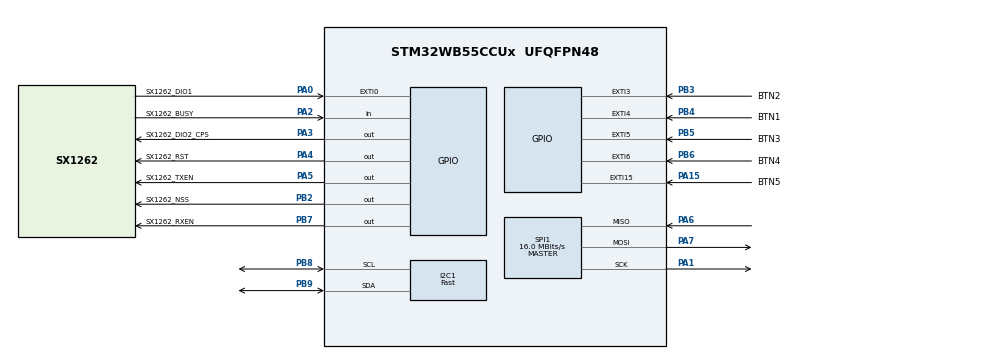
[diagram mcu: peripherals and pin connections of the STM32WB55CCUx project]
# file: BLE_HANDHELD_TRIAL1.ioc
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I2C1.I2C_Speed_Mode=I2C_Fast
I2C1.Timing=0x0060112F
Mcu.Family=STM32WB
Mcu.Name=STM32WB55CCUx
Mcu.Package=UFQFPN48
NVIC.EXTI0_IRQn=true\:0\:0\:false\:false\:true\:true\:true\:true
NVIC.EXTI15_10_IRQn=true\:0\:0\:false\:false\:true\:true\:true\:true
NVIC.EXTI3_IRQn=true\:0\:0\:false\:false\:true\:true\:true\:true
NVIC.EXTI4_IRQn=true\:0\:0\:false\:false\:true\:true\:true\:true
NVIC.EXTI9_5_IRQn=true\:0\:0\:false\:false\:true\:true\:true\:true
NVIC.HSEM_IRQn=true\:0\:0\:false\:false\:true\:false\:true\:true
NVIC.IPCC_C1_RX_IRQn=true\:0\:0\:false\:false\:true\:true\:true\:true
NVIC.IPCC_C1_TX_IRQn=true\:0\:0\:false\:false\:true\:true\:true\:true
NVIC.PriorityGroup=NVIC_PRIORITYGROUP_4
NVIC.RCC_IRQn=true\:0\:0\:false\:false\:true\:true\:false\:true
NVIC.RTC_WKUP_IRQn=true\:0\:0\:false\:false\:true\:true\:true\:true
OSC_IN.Mode=HSE-External-Oscillator
OSC_IN.Signal=RCC_OSC_IN
OSC_OUT.Mode=HSE-External-Oscillator
OSC_OUT.Signal=RCC_OSC_OUT
PA0.GPIO_Label=SX1262_DIO1
PA0.Signal=GPXTI0
PA1.Mode=Full_Duplex_Master
PA1.Signal=SPI1_SCK
PA10.Signal=USART1_RX
PA11.Signal=USART1_CTS
PA12.Signal=USART1_RTS
PA15.GPIO_Label=BTN5
PA15.GPIO_ModeDefaultEXTI=GPIO_MODE_IT_FALLING
PA15.Signal=GPXTI15
PA2.GPIO_Label=SX1262_BUSY
PA2.Signal=GPIO_Input
PA3.GPIO_Label=SX1262_DIO2_CPS
PA3.Signal=GPIO_Output
PA4.GPIO_Label=SX1262_RST
PA4.Signal=GPIO_Output
PA5.GPIO_Label=SX1262_TXEN
PA5.Signal=GPIO_Output
PA6.Mode=Full_Duplex_Master
PA6.Signal=SPI1_MISO
PA7.Mode=Full_Duplex_Master
PA7.Signal=SPI1_MOSI
PB2.GPIO_Label=SX1262_NSS
PB2.Signal=GPIO_Output
PB3.GPIO_Label=BTN2
PB3.GPIO_ModeDefaultEXTI=GPIO_MODE_IT_FALLING
PB3.Signal=GPXTI3
PB4.GPIO_Label=BTN1
PB4.GPIO_ModeDefaultEXTI=GPIO_MODE_IT_FALLING
PB4.Signal=GPXTI4
PB5.GPIO_Label=BTN3
PB5.GPIO_ModeDefaultEXTI=GPIO_MODE_IT_FALLING
PB5.Signal=GPXTI5
PB6.GPIO_Label=BTN4
PB6.GPIO_ModeDefaultEXTI=GPIO_MODE_IT_FALLING
PB6.Signal=GPXTI6
PB7.GPIO_Label=SX1262_RXEN
PB7.Signal=GPIO_Output
PB8.Mode=I2C
PB8.Signal=I2C1_SCL
PB9.Mode=I2C
PB9.Signal=I2C1_SDA
PC14-OSC32_IN.Mode=LSE-External-Oscillator
PC14-OSC32_IN.Signal=RCC_OSC32_IN
PC15-OSC32_OUT.Mode=LSE-External-Oscillator
PC15-OSC32_OUT.Signal=RCC_OSC32_OUT
ProjectManager.HeapSize=0x200
ProjectManager.StackSize=0x400
ProjectManager.TargetToolchain=STM32CubeIDE
RCC.ADCFreq_Value=128000000
RCC.AHBFreq_Value=32000000
RCC.APB1Freq_Value=32000000
RCC.APB1TimFreq_Value=32000000
RCC.APB2Freq_Value=32000000
RCC.APB2TimFreq_Value=32000000
RCC.APB3Freq_Value=16000000
RCC.CortexFreq_Value=32000000
RCC.HCLKFreq_Value=32000000
RCC.HSE_VALUE=32000000
RCC.HSI48_VALUE=48000000
RCC.HSI_VALUE=16000000
RCC.MSIClockRange=RCC_MSIRANGE_10
RCC.SYSCLKFreq_VALUE=32000000
RCC.USBFreq_Value=128000000
RCC.VCOOutputFreq_Value=256000000
RF1.Mode=RF1_Activate
RF1.Signal=RF_RF1
SPI1.CalculateBaudRate=16.0 MBits/s
SPI1.DataSize=SPI_DATASIZE_8BIT
SPI1.Direction=SPI_DIRECTION_2LINES
SPI1.Mode=SPI_MODE_MASTER
SPI1.VirtualType=VM_MASTER
STM32_WPAN.BLE_APPLICATION_TYPE=BLE_CLIENT_PROFILE
STM32_WPAN.CFG_LSCLK_LSE=0
VP_HSEM_VS_HSEM.Mode=HSEM_Activate
VP_IPCC_VS_IPCC.Mode=IPCC_Activate
VP_MEMORYMAP_VS_MEMORYMAP.Mode=CurAppReg
VP_RTC_VS_RTC_Activate.Mode=RTC_Enabled
VP_RTC_VS_RTC_WakeUp_intern.Mode=WakeUp
VP_SEQUENCER_VS_SEQUENCER.Mode=SEQUENCER_Enabled
VP_STM32_WPAN_VS_BLE_HOST.Mode=STM32_WPAN_Enabled
VP_TIM1_VS_ClockSourceITR.Mode=TriggerSource_ITR0
VP_TIM1_VS_ControllerModeClock.Mode=Clock Mode
VP_TINY_LPM_VS_TINY_LPM.Mode=TINY_LPM_Enabled
board=custom

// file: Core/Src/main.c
/* USER CODE BEGIN Header */
/**
  ******************************************************************************
  * @file           : main.c
  * @brief          : Main program body
  ******************************************************************************
  * @attention
  *
  * Copyright (c) 2026 STMicroelectronics.
  * All rights reserved.
  *
  * This software is licensed under terms that can be found in the LICENSE file
  * in the root directory of this software component.
  * If no LICENSE file comes with this software, it is provided AS-IS.
  *
  ******************************************************************************
  */
/* USER CODE END Header */
#include "main.h"

/* USER CODE BEGIN Includes */
#include "ssd1306.h"
#include "fonts.h"
#include "app_ble.h"
#include "ble_gap_aci.h"
#include "stm32_seq.h"
#include "board_sx126x_calls.h"
#include <stdio.h>
/* USER CODE END Includes */

I2C_HandleTypeDef hi2c1;

IPCC_HandleTypeDef hipcc;

RTC_HandleTypeDef hrtc;

SPI_HandleTypeDef hspi1;

TIM_HandleTypeDef htim1;

void SystemClock_Config(void);
void PeriphCommonClock_Config(void);
static void MX_GPIO_Init(void);
static void MX_I2C1_Init(void);
static void MX_IPCC_Init(void);
static void MX_RTC_Init(void);
static void MX_SPI1_Init(void);
static void MX_TIM1_Init(void);
static void MX_RF_Init(void);
/* USER CODE BEGIN PFP */
void Button1_Poll(void);
void Write_TO_OLED();
void BLE_RECIEVE();
/* USER CODE END PFP */

/* USER CODE BEGIN 0 */
volatile uint8_t display_toggle = 1;
char oled_buffer[24];
int BLE_R = 0;
int BLE_M = 0;
int BLE_Dis = -1;
uint32_t now;
uint32_t last_update = 0;
const uint32_t update_interval = 1000;
/* USER CODE END 0 */

int main(void)
{

  /* MCU Configuration--------------------------------------------------------*/

  /* Reset of all peripherals, Initializes the Flash interface and the Systick. */
  HAL_Init();
  /* Config code for STM32_WPAN (HSE Tuning must be done before system clock configuration) */
  MX_APPE_Config();

  /* Configure the system clock */
  SystemClock_Config();

  /* Configure the peripherals common clocks */
  PeriphCommonClock_Config();

  /* IPCC initialisation */
  MX_IPCC_Init();

  /* Initialize all configured peripherals */
  MX_GPIO_Init();
  MX_I2C1_Init();
  MX_RTC_Init();
  MX_SPI1_Init();
  MX_TIM1_Init();
  MX_RF_Init();

  /* Init code for STM32_WPAN */
  MX_APPE_Init();

  /* Infinite loop */
  /* USER CODE BEGIN WHILE */
  	  SSD1306_Init();
  	if(setup_22dBm_Tx(NULL) != SX126X_STATUS_OK){									// here we call the 22dBm setup and check it returns STATUS OK
  		SSD1306_Clear();
  		snprintf(oled_buffer, sizeof(oled_buffer), "Error: setup_22dBm_Tx()");		// print an error to the user if STATUS NOT OK
  		SSD1306_GotoXY(0,0);
  		SSD1306_Puts(oled_buffer, &Font_7x10, 1);
  		SSD1306_UpdateScreen();
  		while(1){}																	// hold here indefinitely
  	}

  	if(rfswitch_Rx(NULL) != SX126X_STATUS_OK){										// here we call rfswitch_TX and check it returns STATUS OK
  		SSD1306_Clear();
  		snprintf(oled_buffer, sizeof(oled_buffer), "Error: rfswitch_Tx()");			// print an error to the user if STATUS NOT OK
  		SSD1306_GotoXY(0,0);
  		SSD1306_Puts(oled_buffer, &Font_7x10, 1);
  		SSD1306_UpdateScreen();
  		while(1){}																	// hold here indefinitely
  	}

  	HAL_Delay(100);
  	SSD1306_Clear();
  	SSD1306_GotoXY(0, 0);
  	SSD1306_Puts("Please Input", &Font_7x10, 1);
	SSD1306_GotoXY(0, 10);
  	SSD1306_Puts("BTN1 - BLE En", &Font_7x10, 1);
	SSD1306_GotoXY(0, 20);
  	SSD1306_Puts("BTN2 - BLE Dis", &Font_7x10, 1);
	SSD1306_GotoXY(0, 30);
  	SSD1306_Puts("BTN3 - TxPw En", &Font_7x10, 1);
  	SSD1306_GotoXY(0, 40);
    SSD1306_Puts("BTN4 - TxPw Dis", &Font_7x10, 1);
  	SSD1306_UpdateScreen();

  while (1)
  {
    /* USER CODE END WHILE */
    MX_APPE_Process();

    /* USER CODE BEGIN 3 */
    BLE_RECIEVE();
  }
  /* USER CODE END 3 */
}

void SystemClock_Config(void)
{
  RCC_OscInitTypeDef RCC_OscInitStruct = {0};
  RCC_ClkInitTypeDef RCC_ClkInitStruct = {0};

  /** Configure the main internal regulator output voltage
  */
  __HAL_PWR_VOLTAGESCALING_CONFIG(PWR_REGULATOR_VOLTAGE_SCALE1);

  /** Initializes the RCC Oscillators according to the specified parameters
  * in the RCC_OscInitTypeDef structure.
  */
  RCC_OscInitStruct.OscillatorType = RCC_OSCILLATORTYPE_HSI|RCC_OSCILLATORTYPE_LSI1
                              |RCC_OSCILLATORTYPE_HSE|RCC_OSCILLATORTYPE_MSI;
  RCC_OscInitStruct.HSEState = RCC_HSE_ON;
  RCC_OscInitStruct.HSIState = RCC_HSI_ON;
  RCC_OscInitStruct.MSIState = RCC_MSI_ON;
  RCC_OscInitStruct.HSICalibrationValue = RCC_HSICALIBRATION_DEFAULT;
  RCC_OscInitStruct.MSICalibrationValue = RCC_MSICALIBRATION_DEFAULT;
  RCC_OscInitStruct.MSIClockRange = RCC_MSIRANGE_10;
  RCC_OscInitStruct.LSIState = RCC_LSI_ON;
  RCC_OscInitStruct.PLL.PLLState = RCC_PLL_NONE;
  if (HAL_RCC_OscConfig(&RCC_OscInitStruct) != HAL_OK)
  {
    Error_Handler();
  }

  /** Configure the SYSCLKSource, HCLK, PCLK1 and PCLK2 clocks dividers
  */
  RCC_ClkInitStruct.ClockType = RCC_CLOCKTYPE_HCLK4|RCC_CLOCKTYPE_HCLK2
                              |RCC_CLOCKTYPE_HCLK|RCC_CLOCKTYPE_SYSCLK
                              |RCC_CLOCKTYPE_PCLK1|RCC_CLOCKTYPE_PCLK2;
  RCC_ClkInitStruct.SYSCLKSource = RCC_SYSCLKSOURCE_MSI;
  RCC_ClkInitStruct.AHBCLKDivider = RCC_SYSCLK_DIV1;
  RCC_ClkInitStruct.APB1CLKDivider = RCC_HCLK_DIV1;
  RCC_ClkInitStruct.APB2CLKDivider = RCC_HCLK_DIV1;
  RCC_ClkInitStruct.AHBCLK2Divider = RCC_SYSCLK_DIV1;
  RCC_ClkInitStruct.AHBCLK4Divider = RCC_SYSCLK_DIV1;

  if (HAL_RCC_ClockConfig(&RCC_ClkInitStruct, FLASH_LATENCY_1) != HAL_OK)
  {
    Error_Handler();
  }
}

void PeriphCommonClock_Config(void)
{
  RCC_PeriphCLKInitTypeDef PeriphClkInitStruct = {0};

  /** Initializes the peripherals clock
  */
  PeriphClkInitStruct.PeriphClockSelection = RCC_PERIPHCLK_SMPS|RCC_PERIPHCLK_RFWAKEUP;
  PeriphClkInitStruct.RFWakeUpClockSelection = RCC_RFWKPCLKSOURCE_HSE_DIV1024;
  PeriphClkInitStruct.SmpsClockSelection = RCC_SMPSCLKSOURCE_HSI;
  PeriphClkInitStruct.SmpsDivSelection = RCC_SMPSCLKDIV_RANGE1;

  if (HAL_RCCEx_PeriphCLKConfig(&PeriphClkInitStruct) != HAL_OK)
  {
    Error_Handler();
  }
}

static void MX_I2C1_Init(void)
{

  hi2c1.Instance = I2C1;
  hi2c1.Init.Timing = 0x0060112F;
  hi2c1.Init.OwnAddress1 = 0;
  hi2c1.Init.AddressingMode = I2C_ADDRESSINGMODE_7BIT;
  hi2c1.Init.DualAddressMode = I2C_DUALADDRESS_DISABLE;
  hi2c1.Init.OwnAddress2 = 0;
  hi2c1.Init.OwnAddress2Masks = I2C_OA2_NOMASK;
  hi2c1.Init.GeneralCallMode = I2C_GENERALCALL_DISABLE;
  hi2c1.Init.NoStretchMode = I2C_NOSTRETCH_DISABLE;
  if (HAL_I2C_Init(&hi2c1) != HAL_OK)
  {
    Error_Handler();
  }

  /** Configure Analogue filter
  */
  if (HAL_I2CEx_ConfigAnalogFilter(&hi2c1, I2C_ANALOGFILTER_ENABLE) != HAL_OK)
  {
    Error_Handler();
  }

  /** Configure Digital filter
  */
  if (HAL_I2CEx_ConfigDigitalFilter(&hi2c1, 0) != HAL_OK)
  {
    Error_Handler();
  }

}

static void MX_IPCC_Init(void)
{

  hipcc.Instance = IPCC;
  if (HAL_IPCC_Init(&hipcc) != HAL_OK)
  {
    Error_Handler();
  }

}

static void MX_RF_Init(void)
{

}

static void MX_RTC_Init(void)
{

  /** Initialize RTC Only
  */
  hrtc.Instance = RTC;
  hrtc.Init.HourFormat = RTC_HOURFORMAT_24;
  hrtc.Init.AsynchPrediv = CFG_RTC_ASYNCH_PRESCALER;
  hrtc.Init.SynchPrediv = CFG_RTC_SYNCH_PRESCALER;
  hrtc.Init.OutPut = RTC_OUTPUT_DISABLE;
  hrtc.Init.OutPutPolarity = RTC_OUTPUT_POLARITY_HIGH;
  hrtc.Init.OutPutType = RTC_OUTPUT_TYPE_OPENDRAIN;
  hrtc.Init.OutPutRemap = RTC_OUTPUT_REMAP_NONE;
  if (HAL_RTC_Init(&hrtc) != HAL_OK)
  {
    Error_Handler();
  }

  /** Enable the WakeUp
  */
  if (HAL_RTCEx_SetWakeUpTimer_IT(&hrtc, 0, RTC_WAKEUPCLOCK_RTCCLK_DIV16) != HAL_OK)
  {
    Error_Handler();
  }

}

static void MX_SPI1_Init(void)
{

  /* SPI1 parameter configuration*/
  hspi1.Instance = SPI1;
  hspi1.Init.Mode = SPI_MODE_MASTER;
  hspi1.Init.Direction = SPI_DIRECTION_2LINES;
  hspi1.Init.DataSize = SPI_DATASIZE_8BIT;
  hspi1.Init.CLKPolarity = SPI_POLARITY_LOW;
  hspi1.Init.CLKPhase = SPI_PHASE_1EDGE;
  hspi1.Init.NSS = SPI_NSS_SOFT;
  hspi1.Init.BaudRatePrescaler = SPI_BAUDRATEPRESCALER_2;
  hspi1.Init.FirstBit = SPI_FIRSTBIT_MSB;
  hspi1.Init.TIMode = SPI_TIMODE_DISABLE;
  hspi1.Init.CRCCalculation = SPI_CRCCALCULATION_DISABLE;
  hspi1.Init.CRCPolynomial = 7;
  hspi1.Init.CRCLength = SPI_CRC_LENGTH_DATASIZE;
  hspi1.Init.NSSPMode = SPI_NSS_PULSE_ENABLE;
  if (HAL_SPI_Init(&hspi1) != HAL_OK)
  {
    Error_Handler();
  }

}

static void MX_TIM1_Init(void)
{

  TIM_SlaveConfigTypeDef sSlaveConfig = {0};
  TIM_MasterConfigTypeDef sMasterConfig = {0};

  htim1.Instance = TIM1;
  htim1.Init.Prescaler = 0;
  htim1.Init.CounterMode = TIM_COUNTERMODE_UP;
  htim1.Init.Period = 65535;
  htim1.Init.ClockDivision = TIM_CLOCKDIVISION_DIV1;
  htim1.Init.RepetitionCounter = 0;
  htim1.Init.AutoReloadPreload = TIM_AUTORELOAD_PRELOAD_DISABLE;
  if (HAL_TIM_Base_Init(&htim1) != HAL_OK)
  {
    Error_Handler();
  }
  sSlaveConfig.SlaveMode = TIM_SLAVEMODE_EXTERNAL1;
  sSlaveConfig.InputTrigger = TIM_TS_ITR0;
  if (HAL_TIM_SlaveConfigSynchro(&htim1, &sSlaveConfig) != HAL_OK)
  {
    Error_Handler();
  }
  sMasterConfig.MasterOutputTrigger = TIM_TRGO_RESET;
  sMasterConfig.MasterOutputTrigger2 = TIM_TRGO2_RESET;
  sMasterConfig.MasterSlaveMode = TIM_MASTERSLAVEMODE_DISABLE;
  if (HAL_TIMEx_MasterConfigSynchronization(&htim1, &sMasterConfig) != HAL_OK)
  {
    Error_Handler();
  }

}

static void MX_GPIO_Init(void)
{
  GPIO_InitTypeDef GPIO_InitStruct = {0};

  /* GPIO Ports Clock Enable */
  __HAL_RCC_GPIOC_CLK_ENABLE();
  __HAL_RCC_GPIOB_CLK_ENABLE();
  __HAL_RCC_GPIOA_CLK_ENABLE();

  /*Configure GPIO pin Output Level */
  HAL_GPIO_WritePin(GPIOA, SX1262_DIO2_CPS_Pin|SX1262_RST_Pin|SX1262_TXEN_Pin, GPIO_PIN_RESET);

  /*Configure GPIO pin Output Level */
  HAL_GPIO_WritePin(GPIOB, SX1262_NSS_Pin|SX1262_RXEN_Pin, GPIO_PIN_RESET);

  /*Configure GPIO pin : SX1262_DIO1_Pin */
  GPIO_InitStruct.Pin = SX1262_DIO1_Pin;
  GPIO_InitStruct.Mode = GPIO_MODE_IT_RISING;
  GPIO_InitStruct.Pull = GPIO_NOPULL;
  HAL_GPIO_Init(SX1262_DIO1_GPIO_Port, &GPIO_InitStruct);

  /*Configure GPIO pin : SX1262_BUSY_Pin */
  GPIO_InitStruct.Pin = SX1262_BUSY_Pin;
  GPIO_InitStruct.Mode = GPIO_MODE_INPUT;
  GPIO_InitStruct.Pull = GPIO_NOPULL;
  HAL_GPIO_Init(SX1262_BUSY_GPIO_Port, &GPIO_InitStruct);

  /*Configure GPIO pins : SX1262_DIO2_CPS_Pin SX1262_RST_Pin SX1262_TXEN_Pin */
  GPIO_InitStruct.Pin = SX1262_DIO2_CPS_Pin|SX1262_RST_Pin|SX1262_TXEN_Pin;
  GPIO_InitStruct.Mode = GPIO_MODE_OUTPUT_PP;
  GPIO_InitStruct.Pull = GPIO_NOPULL;
  GPIO_InitStruct.Speed = GPIO_SPEED_FREQ_LOW;
  HAL_GPIO_Init(GPIOA, &GPIO_InitStruct);

  /*Configure GPIO pins : SX1262_NSS_Pin SX1262_RXEN_Pin */
  GPIO_InitStruct.Pin = SX1262_NSS_Pin|SX1262_RXEN_Pin;
  GPIO_InitStruct.Mode = GPIO_MODE_OUTPUT_PP;
  GPIO_InitStruct.Pull = GPIO_NOPULL;
  GPIO_InitStruct.Speed = GPIO_SPEED_FREQ_LOW;
  HAL_GPIO_Init(GPIOB, &GPIO_InitStruct);

  /*Configure GPIO pins : PA10 PA11 PA12 */
  GPIO_InitStruct.Pin = GPIO_PIN_10|GPIO_PIN_11|GPIO_PIN_12;
  GPIO_InitStruct.Mode = GPIO_MODE_AF_PP;
  GPIO_InitStruct.Pull = GPIO_NOPULL;
  GPIO_InitStruct.Speed = GPIO_SPEED_FREQ_LOW;
  GPIO_InitStruct.Alternate = GPIO_AF7_USART1;
  HAL_GPIO_Init(GPIOA, &GPIO_InitStruct);

  /*Configure GPIO pin : BTN5_Pin */
  GPIO_InitStruct.Pin = BTN5_Pin;
  GPIO_InitStruct.Mode = GPIO_MODE_IT_FALLING;
  GPIO_InitStruct.Pull = GPIO_NOPULL;
  HAL_GPIO_Init(BTN5_GPIO_Port, &GPIO_InitStruct);

  /*Configure GPIO pins : BTN2_Pin BTN1_Pin BTN3_Pin BTN4_Pin */
  GPIO_InitStruct.Pin = BTN2_Pin|BTN1_Pin|BTN3_Pin|BTN4_Pin;
  GPIO_InitStruct.Mode = GPIO_MODE_IT_FALLING;
  GPIO_InitStruct.Pull = GPIO_NOPULL;
  HAL_GPIO_Init(GPIOB, &GPIO_InitStruct);

  /* EXTI interrupt init*/
  HAL_NVIC_SetPriority(EXTI0_IRQn, 0, 0);
  HAL_NVIC_EnableIRQ(EXTI0_IRQn);

  HAL_NVIC_SetPriority(EXTI3_IRQn, 0, 0);
  HAL_NVIC_EnableIRQ(EXTI3_IRQn);

  HAL_NVIC_SetPriority(EXTI4_IRQn, 0, 0);
  HAL_NVIC_EnableIRQ(EXTI4_IRQn);

  HAL_NVIC_SetPriority(EXTI9_5_IRQn, 0, 0);
  HAL_NVIC_EnableIRQ(EXTI9_5_IRQn);

  HAL_NVIC_SetPriority(EXTI15_10_IRQn, 0, 0);
  HAL_NVIC_EnableIRQ(EXTI15_10_IRQn);

}

/* USER CODE BEGIN 4 */
void Write_TO_OLED() {
	float temperature_c;
	float humidity_percent;

	/*
	 * Convert raw SHT41 temperature to Farenhgiht
	 * T = -45 + 175 * (raw / 65535)
	 */
	temperature_c = -45.0f
			+ (315.0f * ((float) g_tlm_data.temperature_raw / 65535.0f));

	/*
	 * Convert raw SHT41 humidity to %RH
	 * RH = -6 + 125 * (raw / 65535)
	 */
	humidity_percent = -6.0f
			+ (125.0f * ((float) g_tlm_data.battery_mv / 65535.0f));

//	Limit humidity to the valid range
	if (humidity_percent < 0.0f) {
		humidity_percent = 0.0f;
	}

	if (humidity_percent > 100.0f) {
		humidity_percent = 100.0f;
	}

//  Display temperature
	snprintf(oled_buffer, sizeof(oled_buffer), "TEMP: %.1f  F", temperature_c);

//	SSD1306_Clear();

	SSD1306_GotoXY(0, 0);
	SSD1306_Puts("SENSOR DATA", &Font_7x10, 1);

	SSD1306_GotoXY(0, 14);
	SSD1306_Puts(oled_buffer, &Font_7x10, 1);

	/*
	 * Display humidity
	 */
	snprintf(oled_buffer, sizeof(oled_buffer), "HUM: %.1f  %%",
			humidity_percent);

	SSD1306_GotoXY(0, 27);
	SSD1306_Puts(oled_buffer, &Font_7x10, 1);

//	Display raw temperature
	snprintf(oled_buffer, sizeof(oled_buffer), "TRAW: %u",
			(unsigned int) g_tlm_data.temperature_raw);

	SSD1306_GotoXY(0, 40);
	SSD1306_Puts(oled_buffer, &Font_7x10, 1);

//	Display raw humidity
	snprintf(oled_buffer, sizeof(oled_buffer), "HRAW: %u",
			(unsigned int) g_tlm_data.battery_mv);

	SSD1306_GotoXY(0, 53);
	SSD1306_Puts(oled_buffer, &Font_7x10, 1);

	SSD1306_UpdateScreen();

}

void BLE_RECIEVE()
{
   // update every 500ms
//	if (display_toggle)   // BUTTON_1 toggles this
//			{
//	UTIL_SEQ_SetTask(1 << CFG_TASK_START_SCAN_ID, CFG_SCH_PRIO_0);
	if(BLE_Dis == 0){
				if (g_tlm_data.valid) {
					now = HAL_GetTick();

					if (now - last_update >= update_interval) {
						last_update = now;
						Write_TO_OLED();
						g_tlm_data.valid = 0;   // Clear flag until next TLM frame
						BLE_R = 1;
						BLE_M = 0;
					}

				}
				else if (!g_tlm_data.valid) {
					now = HAL_GetTick();
					if (now - last_update >= update_interval + 4000) {
						last_update = now;
						SSD1306_Clear();
						SSD1306_GotoXY(0, 0);
						SSD1306_Puts("BLE Missing...", &Font_7x10, 1);
						SSD1306_UpdateScreen();
						BLE_R = 0;
						BLE_M = 1;
					}
				}
	}

	else if(BLE_Dis == 1){
			aci_gap_terminate_gap_proc(GAP_GENERAL_DISCOVERY_PROC);
			BLE_Dis = -1;
	}
}

void HAL_GPIO_EXTI_Callback(uint16_t GPIO_Pin)
{

	if(GPIO_Pin == BTN1_Pin){
		UTIL_SEQ_SetTask(1 << CFG_TASK_START_SCAN_ID, CFG_SCH_PRIO_0);
		SSD1306_Clear();
		SSD1306_GotoXY(0, 0);
		SSD1306_Puts("BLE ENABLED...", &Font_7x10, 1);
		SSD1306_UpdateScreen();
//		HAL_Delay(2000);
		BLE_Dis = 0;
	}

	if(GPIO_Pin == BTN2_Pin){
//		aci_gap_terminate_gap_proc(GAP_GENERAL_DISCOVERY_PROC);
		SSD1306_Clear();
		SSD1306_GotoXY(0, 0);
		SSD1306_Puts("BLE DISABLED...", &Font_7x10, 1);
		SSD1306_UpdateScreen();
		BLE_Dis = 1;
	}

	if(GPIO_Pin == BTN3_Pin){
		sx126x_set_tx_cw(NULL);
		SSD1306_Clear();
		SSD1306_GotoXY(0, 0);
		SSD1306_Puts("PWR TRANSMIT ON...", &Font_7x10, 1);
		SSD1306_UpdateScreen();
	}

	if(GPIO_Pin == BTN4_Pin){
		sx126x_set_standby(NULL, SX126X_STANDBY_CFG_RC);
		SSD1306_Clear();
		SSD1306_GotoXY(0, 0);
		SSD1306_Puts("PWR TRANSMIT OFF...", &Font_7x10, 1);
		SSD1306_UpdateScreen();
	}
}

/* USER CODE END 4 */

void Error_Handler(void)
{
  __disable_irq();
  while (1)
  {
  }
}
